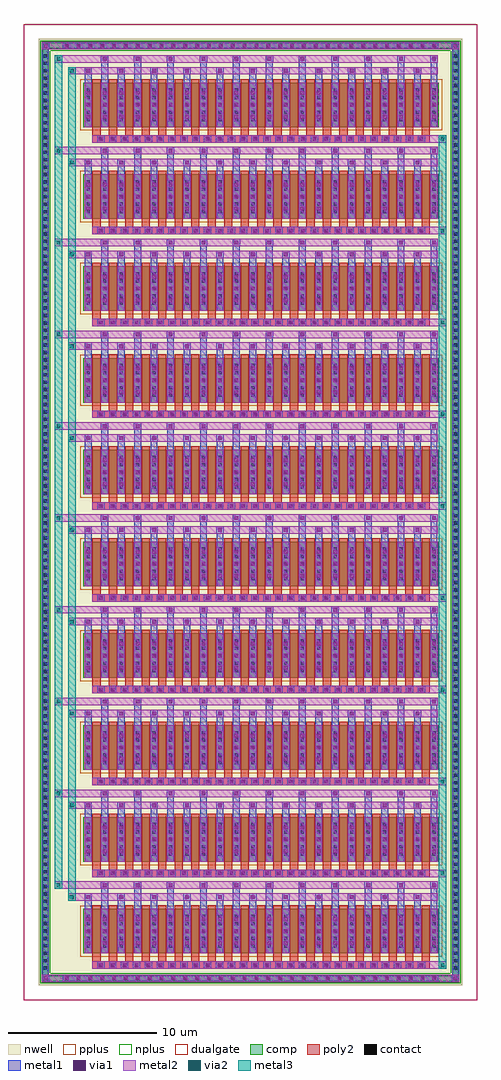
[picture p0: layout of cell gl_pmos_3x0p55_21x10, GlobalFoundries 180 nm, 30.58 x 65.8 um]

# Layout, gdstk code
import gdstk
lib = gdstk.Library(unit=1e-6, precision=1e-09)
def R(c, l, rs):  # rectangles x0, y0, x1, y1
    for r in rs: c.add(gdstk.rectangle(r[:2], r[2:], *l))
def A(c, l, x, y, w, h, nx, ny, dx, dy):  # array of equal rectangles
    R(c, l, [(x+i*dx, y+j*dy, x+i*dx+w, y+j*dy+h) for i in range(nx) for j in range(ny)])
def P(c, l, *ps):  # polygons
    for p in ps: c.add(gdstk.Polygon(p, *l))
nwell = (21, 0)
comp = (22, 0)
poly2 = (30, 0)
pplus = (31, 0)
nplus = (32, 0)
contact = (33, 0)
metal1 = (34, 0)
via1 = (35, 0)
metal2 = (36, 0)
via2 = (38, 0)
metal3 = (42, 0)
dualgate = (55, 0)

gl_pmos_3x0p55_21x10 = lib.new_cell('gl_pmos_3x0p55_21x10')
R(gl_pmos_3x0p55_21x10, nwell, [(-14.29,-31.9,14.29,31.9), (-14.13,-31.74,14.13,31.74)])
A(gl_pmos_3x0p55_21x10, comp, -12.58, -31.62, 0.36, 0.36, 32, 2, 0.8, 62.88)
A(gl_pmos_3x0p55_21x10, comp, -14.01, -30.93, 0.36, 0.36, 1, 124, 0, 0.5)
A(gl_pmos_3x0p55_21x10, comp, 13.65, -30.93, 0.36, 0.36, 1, 124, 0, 0.5)
A(gl_pmos_3x0p55_21x10, comp, -11.26, -29.76, 23.95, 3, 1, 10, 0, 6.19)
R(gl_pmos_3x0p55_21x10, comp, [(-12.58,-31.62,12.58,-31.26), (-14.01,-30.93,-13.65,30.93), (13.65,-30.93,14.01,30.93), (-12.58,31.26,12.58,31.62)])
P(gl_pmos_3x0p55_21x10, comp, [(-14.01,-31.62),(-14.01,-31.26),(-13.65,-31.26),(13.65,-31.26),(13.65,31.26),(-13.65,31.26),(-13.65,-31.26),(-14.01,-31.26),(-14.01,31.62),(14.01,31.62),(14.01,-31.62)])
A(gl_pmos_3x0p55_21x10, poly2, -10.66, -30.8, 22.75, 0.5, 1, 10, 0, 6.19)
A(gl_pmos_3x0p55_21x10, poly2, -10.265, -30.73, 0.36, 0.36, 28, 10, 0.8, 6.19)
A(gl_pmos_3x0p55_21x10, poly2, -10.66, -30.3, 0.55, 0.3, 21, 10, 1.11, 6.19)
A(gl_pmos_3x0p55_21x10, poly2, -10.66, -30, 0.55, 3.48, 21, 10, 1.11, 6.19)
A(gl_pmos_3x0p55_21x10, pplus, -11.49, -29.99, 24.41, 3.46, 1, 10, 0, 6.19)
P(gl_pmos_3x0p55_21x10, nplus, [(-14.17,-31.78),(-14.17,-31.1),(-13.49,-31.1),(13.49,-31.1),(13.49,31.1),(-13.49,31.1),(-13.49,-31.1),(-14.17,-31.1),(-14.17,31.78),(14.17,31.78),(14.17,-31.78)])
A(gl_pmos_3x0p55_21x10, contact, -12.51, -31.55, 0.22, 0.22, 32, 2, 0.8, 62.88)
A(gl_pmos_3x0p55_21x10, contact, -13.94, -30.86, 0.22, 0.22, 1, 124, 0, 0.5)
A(gl_pmos_3x0p55_21x10, contact, 13.72, -30.86, 0.22, 0.22, 1, 124, 0, 0.5)
A(gl_pmos_3x0p55_21x10, contact, -10.195, -30.66, 0.22, 0.22, 28, 10, 0.8, 6.19)
A(gl_pmos_3x0p55_21x10, contact, -11.05, -29.37, 0.22, 0.22, 22, 5, 1.11, 0.5)
A(gl_pmos_3x0p55_21x10, contact, -11.05, -23.18, 0.22, 0.22, 22, 5, 1.11, 0.5)
A(gl_pmos_3x0p55_21x10, contact, -11.05, -16.99, 0.22, 0.22, 22, 5, 1.11, 0.5)
A(gl_pmos_3x0p55_21x10, contact, -11.05, -10.8, 0.22, 0.22, 22, 5, 1.11, 0.5)
A(gl_pmos_3x0p55_21x10, contact, -11.05, -4.61, 0.22, 0.22, 22, 5, 1.11, 0.5)
A(gl_pmos_3x0p55_21x10, contact, -11.05, 1.58, 0.22, 0.22, 22, 5, 1.11, 0.5)
A(gl_pmos_3x0p55_21x10, contact, -11.05, 7.77, 0.22, 0.22, 22, 5, 1.11, 0.5)
A(gl_pmos_3x0p55_21x10, contact, -11.05, 13.96, 0.22, 0.22, 22, 5, 1.11, 0.5)
A(gl_pmos_3x0p55_21x10, contact, -11.05, 20.15, 0.22, 0.22, 22, 5, 1.11, 0.5)
A(gl_pmos_3x0p55_21x10, contact, -11.05, 26.34, 0.22, 0.22, 22, 5, 1.11, 0.5)
A(gl_pmos_3x0p55_21x10, metal1, -12.65, -31.69, 0.5, 0.5, 32, 2, 0.8, 62.88)
A(gl_pmos_3x0p55_21x10, metal1, -14.06, -30.98, 0.46, 0.46, 1, 124, 0, 0.5)
A(gl_pmos_3x0p55_21x10, metal1, 13.6, -30.98, 0.46, 0.46, 1, 124, 0, 0.5)
A(gl_pmos_3x0p55_21x10, metal1, -10.335, -30.8, 0.5, 0.5, 28, 10, 0.8, 6.19)
A(gl_pmos_3x0p55_21x10, metal1, -11.17, -29.76, 0.46, 3, 22, 10, 1.11, 6.19)
A(gl_pmos_3x0p55_21x10, metal1, -11.17, -29.49, 0.46, 0.46, 22, 5, 1.11, 0.5)
A(gl_pmos_3x0p55_21x10, metal1, -11.19, -29.31, 0.5, 0.5, 22, 3, 1.11, 0.8)
A(gl_pmos_3x0p55_21x10, metal1, -11.19, -29.31, 0.5, 2.1, 22, 10, 1.11, 6.19)
A(gl_pmos_3x0p55_21x10, metal1, -11.17, -26.76, 0.46, 1.05, 11, 10, 2.22, 6.19)
A(gl_pmos_3x0p55_21x10, metal1, -10.06, -26.76, 0.46, 1.85, 11, 10, 2.22, 6.19)
A(gl_pmos_3x0p55_21x10, metal1, -11.19, -26.21, 0.5, 0.5, 11, 10, 2.22, 6.19)
A(gl_pmos_3x0p55_21x10, metal1, -10.08, -25.41, 0.5, 0.5, 11, 10, 2.22, 6.19)
A(gl_pmos_3x0p55_21x10, metal1, -11.17, -23.3, 0.46, 0.46, 22, 5, 1.11, 0.5)
A(gl_pmos_3x0p55_21x10, metal1, -11.19, -23.12, 0.5, 0.5, 22, 3, 1.11, 0.8)
A(gl_pmos_3x0p55_21x10, metal1, -11.17, -17.11, 0.46, 0.46, 22, 5, 1.11, 0.5)
A(gl_pmos_3x0p55_21x10, metal1, -11.19, -16.93, 0.5, 0.5, 22, 3, 1.11, 0.8)
A(gl_pmos_3x0p55_21x10, metal1, -11.17, -10.92, 0.46, 0.46, 22, 5, 1.11, 0.5)
A(gl_pmos_3x0p55_21x10, metal1, -11.19, -10.74, 0.5, 0.5, 22, 3, 1.11, 0.8)
A(gl_pmos_3x0p55_21x10, metal1, -11.17, -4.73, 0.46, 0.46, 22, 5, 1.11, 0.5)
A(gl_pmos_3x0p55_21x10, metal1, -11.19, -4.55, 0.5, 0.5, 22, 3, 1.11, 0.8)
A(gl_pmos_3x0p55_21x10, metal1, -11.17, 1.46, 0.46, 0.46, 22, 5, 1.11, 0.5)
A(gl_pmos_3x0p55_21x10, metal1, -11.19, 1.64, 0.5, 0.5, 22, 3, 1.11, 0.8)
A(gl_pmos_3x0p55_21x10, metal1, -11.17, 7.65, 0.46, 0.46, 22, 5, 1.11, 0.5)
A(gl_pmos_3x0p55_21x10, metal1, -11.19, 7.83, 0.5, 0.5, 22, 3, 1.11, 0.8)
A(gl_pmos_3x0p55_21x10, metal1, -11.17, 13.84, 0.46, 0.46, 22, 5, 1.11, 0.5)
A(gl_pmos_3x0p55_21x10, metal1, -11.19, 14.02, 0.5, 0.5, 22, 3, 1.11, 0.8)
A(gl_pmos_3x0p55_21x10, metal1, -11.17, 20.03, 0.46, 0.46, 22, 5, 1.11, 0.5)
A(gl_pmos_3x0p55_21x10, metal1, -11.19, 20.21, 0.5, 0.5, 22, 3, 1.11, 0.8)
A(gl_pmos_3x0p55_21x10, metal1, -11.17, 26.22, 0.46, 0.46, 22, 5, 1.11, 0.5)
A(gl_pmos_3x0p55_21x10, metal1, -11.19, 26.4, 0.5, 0.5, 22, 3, 1.11, 0.8)
R(gl_pmos_3x0p55_21x10, metal1, [(-14.06,-31.69,-13.56,-31.19), (-14.06,-31.69,-13.56,-31.19), (-14.06,-31.69,-13.6,-31.26), (-12.65,-31.69,12.65,-31.19), (13.56,-31.69,14.06,-31.19), (13.56,-31.69,14.06,-31.19), (13.6,-31.69,14.06,-31.26), (-14.06,-31.26,-13.6,31.26), (13.6,-31.26,14.06,31.26), (-14.06,31.19,-13.56,31.69), (-14.06,31.19,-13.56,31.69), (-12.65,31.19,12.65,31.69), (13.56,31.19,14.06,31.69), (13.56,31.19,14.06,31.69), (-14.06,31.26,-13.6,31.69), (13.6,31.26,14.06,31.69)])
A(gl_pmos_3x0p55_21x10, via1, -12.53, -31.57, 0.26, 0.26, 32, 2, 0.8, 62.88)
A(gl_pmos_3x0p55_21x10, via1, -10.215, -30.68, 0.26, 0.26, 28, 10, 0.8, 6.19)
A(gl_pmos_3x0p55_21x10, via1, -11.07, -29.19, 0.26, 0.26, 22, 3, 1.11, 0.8)
A(gl_pmos_3x0p55_21x10, via1, -11.07, -26.09, 0.26, 0.26, 11, 10, 2.22, 6.19)
A(gl_pmos_3x0p55_21x10, via1, -9.96, -25.29, 0.26, 0.26, 11, 10, 2.22, 6.19)
A(gl_pmos_3x0p55_21x10, via1, -11.07, -23, 0.26, 0.26, 22, 3, 1.11, 0.8)
A(gl_pmos_3x0p55_21x10, via1, -11.07, -16.81, 0.26, 0.26, 22, 3, 1.11, 0.8)
A(gl_pmos_3x0p55_21x10, via1, -11.07, -10.62, 0.26, 0.26, 22, 3, 1.11, 0.8)
A(gl_pmos_3x0p55_21x10, via1, -11.07, -4.43, 0.26, 0.26, 22, 3, 1.11, 0.8)
A(gl_pmos_3x0p55_21x10, via1, -11.07, 1.76, 0.26, 0.26, 22, 3, 1.11, 0.8)
A(gl_pmos_3x0p55_21x10, via1, -11.07, 7.95, 0.26, 0.26, 22, 3, 1.11, 0.8)
A(gl_pmos_3x0p55_21x10, via1, -11.07, 14.14, 0.26, 0.26, 22, 3, 1.11, 0.8)
A(gl_pmos_3x0p55_21x10, via1, -11.07, 20.33, 0.26, 0.26, 22, 3, 1.11, 0.8)
A(gl_pmos_3x0p55_21x10, via1, -11.07, 26.52, 0.26, 0.26, 22, 3, 1.11, 0.8)
R(gl_pmos_3x0p55_21x10, via1, [(-13.94,-31.57,-13.68,-31.31), (13.68,-31.57,13.94,-31.31), (-13.94,31.31,-13.68,31.57), (13.68,31.31,13.94,31.57)])
A(gl_pmos_3x0p55_21x10, metal2, -12.65, -31.69, 0.5, 0.5, 32, 2, 0.8, 62.88)
A(gl_pmos_3x0p55_21x10, metal2, -10.66, -30.8, 22.75, 0.5, 1, 10, 0, 6.19)
A(gl_pmos_3x0p55_21x10, metal2, -10.335, -30.8, 0.5, 0.5, 28, 10, 0.8, 6.19)
A(gl_pmos_3x0p55_21x10, metal2, -11.19, -29.76, 0.5, 3, 22, 10, 1.11, 6.19)
A(gl_pmos_3x0p55_21x10, metal2, -11.19, -29.31, 0.5, 0.5, 22, 3, 1.11, 0.8)
A(gl_pmos_3x0p55_21x10, metal2, -11.19, -26.21, 0.5, 0.5, 11, 10, 2.22, 6.19)
A(gl_pmos_3x0p55_21x10, metal2, -10.08, -25.41, 0.5, 0.5, 11, 10, 2.22, 6.19)
A(gl_pmos_3x0p55_21x10, metal2, -11.19, -23.12, 0.5, 0.5, 22, 3, 1.11, 0.8)
A(gl_pmos_3x0p55_21x10, metal2, -11.19, -16.93, 0.5, 0.5, 22, 3, 1.11, 0.8)
A(gl_pmos_3x0p55_21x10, metal2, -11.19, -10.74, 0.5, 0.5, 22, 3, 1.11, 0.8)
A(gl_pmos_3x0p55_21x10, metal2, -11.19, -4.55, 0.5, 0.5, 22, 3, 1.11, 0.8)
A(gl_pmos_3x0p55_21x10, metal2, -11.19, 1.64, 0.5, 0.5, 22, 3, 1.11, 0.8)
A(gl_pmos_3x0p55_21x10, metal2, -11.19, 7.83, 0.5, 0.5, 22, 3, 1.11, 0.8)
A(gl_pmos_3x0p55_21x10, metal2, -11.19, 14.02, 0.5, 0.5, 22, 3, 1.11, 0.8)
A(gl_pmos_3x0p55_21x10, metal2, -11.19, 20.21, 0.5, 0.5, 22, 3, 1.11, 0.8)
A(gl_pmos_3x0p55_21x10, metal2, -11.19, 26.4, 0.5, 0.5, 22, 3, 1.11, 0.8)
R(gl_pmos_3x0p55_21x10, metal2, [(-14.06,-31.69,-13.56,-31.19), (-14.06,-31.69,-13.56,-31.19), (-14.06,-31.69,-13.65,-31.19), (-13.65,-31.69,13.65,-31.19), (13.56,-31.69,14.06,-31.19), (13.56,-31.69,14.06,-31.19), (13.65,-31.69,14.06,-31.19), (12.09,-30.8,13.19,-30.3), (12.69,-30.8,13.19,-30.3), (-12.29,-26.21,-11.79,-25.71), (-12.29,-26.21,-11.19,-25.71), (-11.19,-26.21,12.62,-25.71), (-13.19,-25.41,-12.69,-24.91), (-13.19,-25.41,-11.19,-24.91), (-11.19,-25.41,12.62,-24.91), (12.09,-24.61,13.19,-24.11), (12.09,-24.61,13.19,-24.11), (12.69,-24.61,13.19,-24.11), (12.69,-24.61,13.19,-24.11), (-12.29,-20.02,-11.79,-19.52), (-12.29,-20.02,-11.79,-19.52), (-12.29,-20.02,-11.19,-19.52), (-12.29,-20.02,-11.19,-19.52), (-11.19,-20.02,12.62,-19.52), (-13.19,-19.22,-12.69,-18.72), (-13.19,-19.22,-12.69,-18.72), (-13.19,-19.22,-11.19,-18.72), (-13.19,-19.22,-11.19,-18.72), (-11.19,-19.22,12.62,-18.72), (12.09,-18.42,13.19,-17.92), (12.09,-18.42,13.19,-17.92), (12.69,-18.42,13.19,-17.92), (12.69,-18.42,13.19,-17.92), (-12.29,-13.83,-11.79,-13.33), (-12.29,-13.83,-11.79,-13.33), (-12.29,-13.83,-11.19,-13.33), (-12.29,-13.83,-11.19,-13.33), (-11.19,-13.83,12.62,-13.33), (-13.19,-13.03,-12.69,-12.53), (-13.19,-13.03,-12.69,-12.53), (-13.19,-13.03,-11.19,-12.53), (-13.19,-13.03,-11.19,-12.53), (-11.19,-13.03,12.62,-12.53), (12.09,-12.23,13.19,-11.73), (12.09,-12.23,13.19,-11.73), (12.69,-12.23,13.19,-11.73), (12.69,-12.23,13.19,-11.73), (-12.29,-7.64,-11.79,-7.14), (-12.29,-7.64,-11.79,-7.14), (-12.29,-7.64,-11.19,-7.14), (-12.29,-7.64,-11.19,-7.14), (-11.19,-7.64,12.62,-7.14), (-13.19,-6.84,-12.69,-6.34), (-13.19,-6.84,-12.69,-6.34), (-13.19,-6.84,-11.19,-6.34), (-13.19,-6.84,-11.19,-6.34), (-11.19,-6.84,12.62,-6.34), (12.09,-6.04,13.19,-5.54), (12.09,-6.04,13.19,-5.54), (12.69,-6.04,13.19,-5.54), (12.69,-6.04,13.19,-5.54), (-12.29,-1.45,-11.79,-0.95), (-12.29,-1.45,-11.79,-0.95), (-12.29,-1.45,-11.19,-0.95), (-12.29,-1.45,-11.19,-0.95), (-11.19,-1.45,12.62,-0.95), (-13.19,-0.65,-12.69,-0.15), (-13.19,-0.65,-12.69,-0.15), (-13.19,-0.65,-11.19,-0.15), (-13.19,-0.65,-11.19,-0.15), (-11.19,-0.65,12.62,-0.15), (12.09,0.15,13.19,0.65), (12.09,0.15,13.19,0.65), (12.69,0.15,13.19,0.65), (12.69,0.15,13.19,0.65), (-12.29,4.74,-11.79,5.24), (-12.29,4.74,-11.79,5.24), (-12.29,4.74,-11.19,5.24), (-12.29,4.74,-11.19,5.24), (-11.19,4.74,12.62,5.24), (-13.19,5.54,-12.69,6.04), (-13.19,5.54,-12.69,6.04), (-13.19,5.54,-11.19,6.04), (-13.19,5.54,-11.19,6.04), (-11.19,5.54,12.62,6.04), (12.09,6.34,13.19,6.84), (12.09,6.34,13.19,6.84), (12.69,6.34,13.19,6.84), (12.69,6.34,13.19,6.84), (-12.29,10.93,-11.79,11.43), (-12.29,10.93,-11.79,11.43), (-12.29,10.93,-11.19,11.43), (-12.29,10.93,-11.19,11.43), (-11.19,10.93,12.62,11.43), (-13.19,11.73,-12.69,12.23), (-13.19,11.73,-12.69,12.23), (-13.19,11.73,-11.19,12.23), (-13.19,11.73,-11.19,12.23), (-11.19,11.73,12.62,12.23), (12.09,12.53,13.19,13.03), (12.09,12.53,13.19,13.03), (12.69,12.53,13.19,13.03), (12.69,12.53,13.19,13.03), (-12.29,17.12,-11.79,17.62), (-12.29,17.12,-11.79,17.62), (-12.29,17.12,-11.19,17.62), (-12.29,17.12,-11.19,17.62), (-11.19,17.12,12.62,17.62), (-13.19,17.92,-12.69,18.42), (-13.19,17.92,-12.69,18.42), (-13.19,17.92,-11.19,18.42), (-13.19,17.92,-11.19,18.42), (-11.19,17.92,12.62,18.42), (12.09,18.72,13.19,19.22), (12.09,18.72,13.19,19.22), (12.69,18.72,13.19,19.22), (12.69,18.72,13.19,19.22), (-12.29,23.31,-11.79,23.81), (-12.29,23.31,-11.79,23.81), (-12.29,23.31,-11.19,23.81), (-12.29,23.31,-11.19,23.81), (-11.19,23.31,12.62,23.81), (-13.19,24.11,-12.69,24.61), (-13.19,24.11,-12.69,24.61), (-13.19,24.11,-11.19,24.61), (-13.19,24.11,-11.19,24.61), (-11.19,24.11,12.62,24.61), (12.09,24.91,13.19,25.41), (12.69,24.91,13.19,25.41), (-12.29,29.5,-11.79,30), (-12.29,29.5,-11.19,30), (-11.19,29.5,12.62,30), (-13.19,30.3,-12.69,30.8), (-13.19,30.3,-11.19,30.8), (-11.19,30.3,12.62,30.8), (-14.06,31.19,-13.56,31.69), (-14.06,31.19,-13.56,31.69), (-14.06,31.19,-13.65,31.69), (-13.65,31.19,13.65,31.69), (13.56,31.19,14.06,31.69), (13.56,31.19,14.06,31.69), (13.65,31.19,14.06,31.69)])
R(gl_pmos_3x0p55_21x10, via2, [(12.81,-30.68,13.07,-30.42), (-12.17,-26.09,-11.91,-25.83), (-13.07,-25.29,-12.81,-25.03), (12.81,-24.49,13.07,-24.23), (12.81,-24.49,13.07,-24.23), (-12.17,-19.9,-11.91,-19.64), (-12.17,-19.9,-11.91,-19.64), (-13.07,-19.1,-12.81,-18.84), (-13.07,-19.1,-12.81,-18.84), (12.81,-18.3,13.07,-18.04), (12.81,-18.3,13.07,-18.04), (-12.17,-13.71,-11.91,-13.45), (-12.17,-13.71,-11.91,-13.45), (-13.07,-12.91,-12.81,-12.65), (-13.07,-12.91,-12.81,-12.65), (12.81,-12.11,13.07,-11.85), (12.81,-12.11,13.07,-11.85), (-12.17,-7.52,-11.91,-7.26), (-12.17,-7.52,-11.91,-7.26), (-13.07,-6.72,-12.81,-6.46), (-13.07,-6.72,-12.81,-6.46), (12.81,-5.92,13.07,-5.66), (12.81,-5.92,13.07,-5.66), (-12.17,-1.33,-11.91,-1.07), (-12.17,-1.33,-11.91,-1.07), (-13.07,-0.53,-12.81,-0.27), (-13.07,-0.53,-12.81,-0.27), (12.81,0.27,13.07,0.53), (12.81,0.27,13.07,0.53), (-12.17,4.86,-11.91,5.12), (-12.17,4.86,-11.91,5.12), (-13.07,5.66,-12.81,5.92), (-13.07,5.66,-12.81,5.92), (12.81,6.46,13.07,6.72), (12.81,6.46,13.07,6.72), (-12.17,11.05,-11.91,11.31), (-12.17,11.05,-11.91,11.31), (-13.07,11.85,-12.81,12.11), (-13.07,11.85,-12.81,12.11), (12.81,12.65,13.07,12.91), (12.81,12.65,13.07,12.91), (-12.17,17.24,-11.91,17.5), (-12.17,17.24,-11.91,17.5), (-13.07,18.04,-12.81,18.3), (-13.07,18.04,-12.81,18.3), (12.81,18.84,13.07,19.1), (12.81,18.84,13.07,19.1), (-12.17,23.43,-11.91,23.69), (-12.17,23.43,-11.91,23.69), (-13.07,24.23,-12.81,24.49), (-13.07,24.23,-12.81,24.49), (12.81,25.03,13.07,25.29), (-12.17,29.62,-11.91,29.88), (-13.07,30.42,-12.81,30.68)])
A(gl_pmos_3x0p55_21x10, metal3, 12.69, -30.8, 0.5, 6.69, 1, 9, 0, 6.19)
A(gl_pmos_3x0p55_21x10, metal3, -12.29, -26.21, 0.5, 6.69, 1, 9, 0, 6.19)
A(gl_pmos_3x0p55_21x10, metal3, -13.19, -25.41, 0.5, 6.69, 1, 9, 0, 6.19)
R(gl_pmos_3x0p55_21x10, metal3, [(12.69,-30.8,13.19,-30.3), (12.69,-30.8,13.19,-30.3), (-12.29,-26.21,-11.79,-25.71), (-12.29,-26.21,-11.79,-25.71), (-13.19,-25.41,-12.69,-24.91), (-13.19,-25.41,-12.69,-24.91), (12.69,-24.61,13.19,-24.11), (12.69,-24.61,13.19,-24.11), (12.69,-24.61,13.19,-24.11), (12.69,-24.61,13.19,-24.11), (-12.29,-20.02,-11.79,-19.52), (-12.29,-20.02,-11.79,-19.52), (-12.29,-20.02,-11.79,-19.52), (-12.29,-20.02,-11.79,-19.52), (-13.19,-19.22,-12.69,-18.72), (-13.19,-19.22,-12.69,-18.72), (-13.19,-19.22,-12.69,-18.72), (-13.19,-19.22,-12.69,-18.72), (12.69,-18.42,13.19,-17.92), (12.69,-18.42,13.19,-17.92), (12.69,-18.42,13.19,-17.92), (12.69,-18.42,13.19,-17.92), (-12.29,-13.83,-11.79,-13.33), (-12.29,-13.83,-11.79,-13.33), (-12.29,-13.83,-11.79,-13.33), (-12.29,-13.83,-11.79,-13.33), (-13.19,-13.03,-12.69,-12.53), (-13.19,-13.03,-12.69,-12.53), (-13.19,-13.03,-12.69,-12.53), (-13.19,-13.03,-12.69,-12.53), (12.69,-12.23,13.19,-11.73), (12.69,-12.23,13.19,-11.73), (12.69,-12.23,13.19,-11.73), (12.69,-12.23,13.19,-11.73), (-12.29,-7.64,-11.79,-7.14), (-12.29,-7.64,-11.79,-7.14), (-12.29,-7.64,-11.79,-7.14), (-12.29,-7.64,-11.79,-7.14), (-13.19,-6.84,-12.69,-6.34), (-13.19,-6.84,-12.69,-6.34), (-13.19,-6.84,-12.69,-6.34), (-13.19,-6.84,-12.69,-6.34), (12.69,-6.04,13.19,-5.54), (12.69,-6.04,13.19,-5.54), (12.69,-6.04,13.19,-5.54), (12.69,-6.04,13.19,-5.54), (-12.29,-1.45,-11.79,-0.95), (-12.29,-1.45,-11.79,-0.95), (-12.29,-1.45,-11.79,-0.95), (-12.29,-1.45,-11.79,-0.95), (-13.19,-0.65,-12.69,-0.15), (-13.19,-0.65,-12.69,-0.15), (-13.19,-0.65,-12.69,-0.15), (-13.19,-0.65,-12.69,-0.15), (12.69,0.15,13.19,0.65), (12.69,0.15,13.19,0.65), (12.69,0.15,13.19,0.65), (12.69,0.15,13.19,0.65), (-12.29,4.74,-11.79,5.24), (-12.29,4.74,-11.79,5.24), (-12.29,4.74,-11.79,5.24), (-12.29,4.74,-11.79,5.24), (-13.19,5.54,-12.69,6.04), (-13.19,5.54,-12.69,6.04), (-13.19,5.54,-12.69,6.04), (-13.19,5.54,-12.69,6.04), (12.69,6.34,13.19,6.84), (12.69,6.34,13.19,6.84), (12.69,6.34,13.19,6.84), (12.69,6.34,13.19,6.84), (-12.29,10.93,-11.79,11.43), (-12.29,10.93,-11.79,11.43), (-12.29,10.93,-11.79,11.43), (-12.29,10.93,-11.79,11.43), (-13.19,11.73,-12.69,12.23), (-13.19,11.73,-12.69,12.23), (-13.19,11.73,-12.69,12.23), (-13.19,11.73,-12.69,12.23), (12.69,12.53,13.19,13.03), (12.69,12.53,13.19,13.03), (12.69,12.53,13.19,13.03), (12.69,12.53,13.19,13.03), (-12.29,17.12,-11.79,17.62), (-12.29,17.12,-11.79,17.62), (-12.29,17.12,-11.79,17.62), (-12.29,17.12,-11.79,17.62), (-13.19,17.92,-12.69,18.42), (-13.19,17.92,-12.69,18.42), (-13.19,17.92,-12.69,18.42), (-13.19,17.92,-12.69,18.42), (12.69,18.72,13.19,19.22), (12.69,18.72,13.19,19.22), (12.69,18.72,13.19,19.22), (12.69,18.72,13.19,19.22), (-12.29,23.31,-11.79,23.81), (-12.29,23.31,-11.79,23.81), (-12.29,23.31,-11.79,23.81), (-12.29,23.31,-11.79,23.81), (-13.19,24.11,-12.69,24.61), (-13.19,24.11,-12.69,24.61), (-13.19,24.11,-12.69,24.61), (-13.19,24.11,-12.69,24.61), (12.69,24.91,13.19,25.41), (12.69,24.91,13.19,25.41), (-12.29,29.5,-11.79,30), (-12.29,29.5,-11.79,30), (-13.19,30.3,-12.69,30.8), (-13.19,30.3,-12.69,30.8)])
P(gl_pmos_3x0p55_21x10, metal3, [(13.19,24.91),(13.19,25.41),(13.19,25.41),(13.19,24.91)],
  [(13.19,12.53),(13.19,13.03),(13.19,13.03),(13.19,12.53)],
  [(13.19,18.72),(13.19,19.22),(13.19,19.22),(13.19,18.72)],
  [(13.19,6.34),(13.19,6.84),(13.19,6.84),(13.19,6.34)],
  [(13.19,12.53),(13.19,13.03),(13.19,13.03),(13.19,12.53)],
  [(13.19,0.15),(13.19,0.65),(13.19,0.65),(13.19,0.15)],
  [(13.19,6.34),(13.19,6.84),(13.19,6.84),(13.19,6.34)],
  [(13.19,0.15),(13.19,0.65),(13.19,0.65),(13.19,0.15)],
  [(13.19,18.72),(13.19,19.22),(13.19,19.22),(13.19,18.72)],
  [(-11.79,17.12),(-11.79,17.62),(-11.79,17.62),(-11.79,17.12)],
  [(-11.79,23.31),(-11.79,23.81),(-11.79,23.81),(-11.79,23.31)],
  [(-11.79,23.31),(-11.79,23.81),(-11.79,23.81),(-11.79,23.31)],
  [(-11.79,29.5),(-11.79,30),(-11.79,30),(-11.79,29.5)],
  [(-12.69,11.73),(-12.69,12.23),(-12.69,12.23),(-12.69,11.73)],
  [(-12.69,17.92),(-12.69,18.42),(-12.69,18.42),(-12.69,17.92)],
  [(-11.79,10.93),(-11.79,11.43),(-11.79,11.43),(-11.79,10.93)],
  [(-11.79,17.12),(-11.79,17.62),(-11.79,17.62),(-11.79,17.12)],
  [(-12.69,24.11),(-12.69,24.61),(-12.69,24.61),(-12.69,24.11)],
  [(-12.69,30.3),(-12.69,30.8),(-12.69,30.8),(-12.69,30.3)],
  [(-12.69,5.54),(-12.69,6.04),(-12.69,6.04),(-12.69,5.54)],
  [(-12.69,11.73),(-12.69,12.23),(-12.69,12.23),(-12.69,11.73)],
  [(-11.79,4.74),(-11.79,5.24),(-11.79,5.24),(-11.79,4.74)],
  [(-11.79,10.93),(-11.79,11.43),(-11.79,11.43),(-11.79,10.93)],
  [(-12.69,17.92),(-12.69,18.42),(-12.69,18.42),(-12.69,17.92)],
  [(-12.69,24.11),(-12.69,24.61),(-12.69,24.61),(-12.69,24.11)],
  [(-12.69,5.54),(-12.69,6.04),(-12.69,6.04),(-12.69,5.54)],
  [(-11.79,4.74),(-11.79,5.24),(-11.79,5.24),(-11.79,4.74)],
  [(-11.79,-1.45),(-11.79,-0.95),(-11.79,-0.95),(-11.79,-1.45)],
  [(-12.69,-0.65),(-12.69,-0.15),(-12.69,-0.15),(-12.69,-0.65)],
  [(-12.69,-6.84),(-12.69,-6.34),(-12.69,-6.34),(-12.69,-6.84)],
  [(-12.69,-0.65),(-12.69,-0.15),(-12.69,-0.15),(-12.69,-0.65)],
  [(-11.79,-7.64),(-11.79,-7.14),(-11.79,-7.14),(-11.79,-7.64)],
  [(-11.79,-1.45),(-11.79,-0.95),(-11.79,-0.95),(-11.79,-1.45)],
  [(-12.69,-13.03),(-12.69,-12.53),(-12.69,-12.53),(-12.69,-13.03)],
  [(-12.69,-6.84),(-12.69,-6.34),(-12.69,-6.34),(-12.69,-6.84)],
  [(-11.79,-13.83),(-11.79,-13.33),(-11.79,-13.33),(-11.79,-13.83)],
  [(-11.79,-7.64),(-11.79,-7.14),(-11.79,-7.14),(-11.79,-7.64)],
  [(-12.69,-19.22),(-12.69,-18.72),(-12.69,-18.72),(-12.69,-19.22)],
  [(-12.69,-13.03),(-12.69,-12.53),(-12.69,-12.53),(-12.69,-13.03)],
  [(-11.79,-20.02),(-11.79,-19.52),(-11.79,-19.52),(-11.79,-20.02)],
  [(-11.79,-13.83),(-11.79,-13.33),(-11.79,-13.33),(-11.79,-13.83)],
  [(-12.69,-25.41),(-12.69,-24.91),(-12.69,-24.91),(-12.69,-25.41)],
  [(-12.69,-19.22),(-12.69,-18.72),(-12.69,-18.72),(-12.69,-19.22)],
  [(-11.79,-26.21),(-11.79,-25.71),(-11.79,-25.71),(-11.79,-26.21)],
  [(-11.79,-20.02),(-11.79,-19.52),(-11.79,-19.52),(-11.79,-20.02)],
  [(13.19,-12.23),(13.19,-11.73),(13.19,-11.73),(13.19,-12.23)],
  [(13.19,-6.04),(13.19,-5.54),(13.19,-5.54),(13.19,-6.04)],
  [(13.19,-6.04),(13.19,-5.54),(13.19,-5.54),(13.19,-6.04)],
  [(13.19,-30.8),(13.19,-30.3),(13.19,-30.3),(13.19,-30.8)],
  [(13.19,-24.61),(13.19,-24.11),(13.19,-24.11),(13.19,-24.61)],
  [(13.19,-18.42),(13.19,-17.92),(13.19,-17.92),(13.19,-18.42)],
  [(13.19,-12.23),(13.19,-11.73),(13.19,-11.73),(13.19,-12.23)],
  [(13.19,-24.61),(13.19,-24.11),(13.19,-24.11),(13.19,-24.61)],
  [(13.19,-18.42),(13.19,-17.92),(13.19,-17.92),(13.19,-18.42)])
R(gl_pmos_3x0p55_21x10, dualgate, [(-15.29,-32.9,15.29,32.9)])

lib.write_gds('gl_pmos_3x0p55_21x10.gds')
